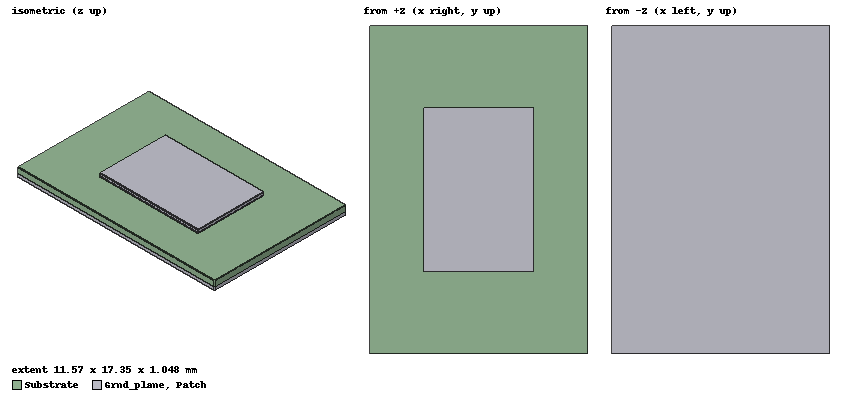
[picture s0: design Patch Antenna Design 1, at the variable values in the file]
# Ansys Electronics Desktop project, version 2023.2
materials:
  vacuum: permittivity=1
  Material1
  Rogers RT/duroid 5880 (tm): permittivity=2.2 dielectric_loss_tangent=0.0009
  pec: conductivity=1e+30
  Teflon (tm): permittivity=2.1 dielectric_loss_tangent=0.001

design Patch Antenna Design 1 (HFSS, HFSS Modal Network, model units mm)
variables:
  h = 0.508mm
  Le = 6.316241mm
  del_L = 266.272104um
  L = Le - 2*del_L
  W = 1.5*L
  Ls = 2*L
  Ws = 2*W
  t = (18*15) um
  SCALE = 0.825
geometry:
  Substrate [Rogers RT/duroid 5880 (tm)] = box(corner=(-(1/2)*Ls, -(1/2)*Ws, 0mm), size=(Ls, Ws, h))
  Patch [pec] = box(corner=(-(1/2)*L, -(1/2)*W, h), size=(L, W, t))
  Grnd_plane [pec] = box(corner=(-(1/2)*Ls, -(1/2)*Ws, 0mm), size=(Ls, Ws, -t))
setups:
  Setup1: HfssDriven Frequency=16GHz MaxDeltaE=0.002 MaximumPasses=15 MinimumPasses=1 MinimumConvergedPasses=1 PercentRefinement=30 BasisOrder=2 DrivenSolverType="Iterative Solver" IterativeResidual=1e-06 DDMSolverResidual=0.0001
    sweep Sweep: 15GHz to 17GHz step 5MHz; Type=Discrete SaveFields

design Patch Antenna Design 2 (HFSS, HFSS Modal Network, model units mm)
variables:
  h = 0.508mm
  Le = 6.316241mm
  del_L = 266.272104um
  L = Le - 2*del_L
  W = 1.5*L
  Ls = 2*L
  Ws = 2*W
  t = 80um
  SCALE = 0.825
  Xf = 2.07*SCALE mm
  X0 = (1/2)*Le-Xf
  r_i = 10mil
  r_o = 33mil
  r_o2 = r_o+10*t
  Lc = 10mm
  d_cap = 10*t
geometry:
  Substrate [Rogers RT/duroid 5880 (tm)] = box(corner=(-(1/2)*Ls, -(1/2)*Ws, 0mm), size=(Ls, Ws, h))
  Patch [pec] = box(corner=(-(1/2)*L, -(1/2)*W, h), size=(L, W, t))
  Grnd_plane [pec] = box(corner=(-(1/2)*Ls, -(1/2)*Ws, 0mm), size=(Ls, Ws, -t))
  Coax_inner [pec] = cylinder(axis=Z, base_centre=(X0, 0mm, -t), radius=r_i, height=-Lc)
  Coax_outer [Teflon (tm)] = cylinder(axis=Z, base_centre=(X0, 0mm, -t), radius=r_o, height=-Lc)
  Coax_outer2 [pec] = cylinder(axis=Z, base_centre=(X0, 0mm, -t), radius=r_o2, height=-(Lc+d_cap))
  Probe [pec] = cylinder(axis=Z, base_centre=(X0, 0mm, 0), radius=r_i, height=h)
  Probe1 [pec] = cylinder(axis=Z, base_centre=(X0, 0mm, 0), radius=r_i, height=-t)
  Slot [vacuum] = cylinder(axis=Z, base_centre=(X0, 0mm, 0), radius=r_o, height=-t)
  RadiatingSurface [vacuum] = region(absolute_offset=6.25mm on all sides)
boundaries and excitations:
  Open1: Radiation Objects=RadiatingSurface
  1: Wave Port Faces=Coax_outer.face(-z end) WavePortType=Modal NumModes=1 DeembedDist=Lc Modes{Mode1{CharImp=Zpi}}
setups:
  Setup1: HfssDriven Frequency=16GHz MaxDeltaS=0.02 MaximumPasses=15 MinimumPasses=1 MinimumConvergedPasses=1 PercentRefinement=30 BasisOrder=2 PortAccuracy=2 DrivenSolverType="Iterative Solver" IterativeResidual=1e-06 DDMSolverResidual=0.0001
    sweep Sweep: 15GHz to 17GHz step 5MHz; Type=Discrete SaveFields
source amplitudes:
  1:1: 1W 0deg
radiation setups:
  3D: Infinite Sphere Theta=0deg..180deg step 2deg Phi=-180deg..180deg step 2deg
  Elevation: Infinite Sphere Theta=-180deg..180deg step 1deg Phi=0deg..90deg step 90deg
  Azimuth: Infinite Sphere Theta=90deg..90deg step 0deg Phi=-180deg..180deg step 1deg

design Patch Antenna Design 4 (HFSS, HFSS Modal Network, model units mm)
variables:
  h = 0.508mm
  Le = 6.316241mm
  del_L = 266.272104um
  L = Le - 2*del_L
  W = 1.5*L
  Ls = 2*L
  Ws = 2*W
  t = 80um
  SCALE = 0.825
  Xf = 2.07*SCALE mm
  X0 = (1/2)*Le-Xf
  r_i = 10mil
  r_o = 33mil
  r_o2 = r_o+10*t
  Lc = 10mm
  d_cap = 10*t
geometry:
  Substrate [Rogers RT/duroid 5880 (tm)] = box(corner=(-(1/2)*Ls, -(1/2)*Ws, 0mm), size=(Ls, Ws, h))
  Patch [pec] = box(corner=(-(1/2)*L, -(1/2)*W, h), size=(L, W, t))
  Grnd_plane [pec] = box(corner=(-(1/2)*Ls, -(1/2)*Ws, 0mm), size=(Ls, Ws, -t))
  Coax_inner [pec] = cylinder(axis=Z, base_centre=(X0, 0mm, -t), radius=r_i, height=-Lc)
  Coax_outer [Teflon (tm)] = cylinder(axis=Z, base_centre=(X0, 0mm, -t), radius=r_o, height=-Lc)
  Coax_outer2 [pec] = cylinder(axis=Z, base_centre=(X0, 0mm, -t), radius=r_o2, height=-(Lc+d_cap))
  Probe [pec] = cylinder(axis=Z, base_centre=(X0, 0mm, 0), radius=r_i, height=h)
  Probe1 [pec] = cylinder(axis=Z, base_centre=(X0, 0mm, 0), radius=r_i, height=-t)
  Slot [vacuum] = cylinder(axis=Z, base_centre=(X0, 0mm, 0), radius=r_o, height=-t)
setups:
  Setup1: HfssDriven Frequency=16GHz MaxDeltaE=0.002 MaximumPasses=15 MinimumPasses=1 MinimumConvergedPasses=1 PercentRefinement=30 BasisOrder=2 DrivenSolverType="Iterative Solver" IterativeResidual=1e-06 DDMSolverResidual=0.0001
    sweep Sweep: 15GHz to 17GHz step 5MHz; Type=Discrete SaveFields

design Design Project 2 V1 (HFSS, HFSS Modal Network, model units mm)
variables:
  h = 0.508mm
  Le = 6.316241mm
  del_L = 266.272104um
  L = Le - 2*del_L
  W = 1.5*L
  Ls = 2*L
  Ws = 2*W
  t = 80um
  SCALE = 0.825
  Xf = 2.07*SCALE mm
  X0 = (1/2)*Le-Xf
  r_i = 10mil
  r_o = 33mil
  r_o2 = r_o+10*t
  Lc = 10mm
  d_cap = 10*t
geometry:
  Substrate [Rogers RT/duroid 5880 (tm)] = box(corner=(-(1/2)*Ls, -(1/2)*Ws, 0mm), size=(Ls, Ws, h))
  Patch [pec] = box(corner=(-(1/2)*L, -(1/2)*W, h), size=(L, W, t))
  Grnd_plane [pec] = box(corner=(-(1/2)*Ls, -(1/2)*Ws, 0mm), size=(Ls, Ws, -t))
  Coax_inner [pec] = cylinder(axis=Z, base_centre=(X0, 0mm, -t), radius=r_i, height=-Lc)
  Coax_outer [Teflon (tm)] = cylinder(axis=Z, base_centre=(X0, 0mm, -t), radius=r_o, height=-Lc)
  Coax_outer2 [pec] = cylinder(axis=Z, base_centre=(X0, 0mm, -t), radius=r_o2, height=-(Lc+d_cap))
  Probe [pec] = cylinder(axis=Z, base_centre=(X0, 0mm, 0), radius=r_i, height=h)
  Probe1 [pec] = cylinder(axis=Z, base_centre=(X0, 0mm, 0), radius=r_i, height=-t)
  Slot [vacuum] = cylinder(axis=Z, base_centre=(X0, 0mm, 0), radius=r_o, height=-t)
  RadiatingSurface [vacuum] = region(absolute_offset: +X=6.25mm, -X=6.25mm, +Y=6.25mm, -Y=0mm, +Z=6.25mm, -Z=6.25mm)
  [Substrate, Patch, Grnd_plane, Coax_inner, Coax_outer, Coax_outer2, Probe, Probe1, Slot].split(plane=ZX, keep=PositiveOnly)
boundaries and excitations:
  Open1: Radiation Objects=RadiatingSurface
  Sym1: Symmetry Faces=RadiatingSurface.face(-y) IsPerfectE=false
  1: Wave Port Faces=Coax_outer.face(-z end) WavePortType=Modal NumModes=1 DeembedDist=Lc Modes{Mode1{CharImp=Zpi}}
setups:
  Setup1: HfssDriven Frequency=16GHz MaxDeltaS=0.02 MaximumPasses=15 MinimumPasses=1 MinimumConvergedPasses=1 PercentRefinement=30 BasisOrder=2 PortAccuracy=2 DrivenSolverType="Iterative Solver" IterativeResidual=1e-06 DDMSolverResidual=0.0001
    sweep Sweep: 15GHz to 17GHz step 5MHz; Type=Discrete SaveFields
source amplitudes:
  1:1: 1W 0deg
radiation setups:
  3D: Infinite Sphere Theta=0deg..180deg step 2deg Phi=-180deg..180deg step 2deg
  Elevation: Infinite Sphere Theta=-180deg..180deg step 1deg Phi=0deg..90deg step 90deg
  Azimuth: Infinite Sphere Theta=90deg..90deg step 0deg Phi=-180deg..180deg step 1deg
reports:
  S Parameter Plot 3: dB(S(1,1)) vs Freq on Setup1 : Sweep; markers m1 at 15.865GHz
  S Parameter Chart 1: S(1,1) on Setup1 : Sweep [Freq=all]; markers m1 at 16GHz
  S Parameter Plot 4: dB(S(1,1)) vs Freq on Setup1 : Sweep
  Gain Plot 1: dB(GainTotal) vs Theta on Setup1 : LastAdaptive, Elevation [Phi=all Freq=16GHz]

design Design Project  2 V2 (HFSS, HFSS Modal Network, model units mm)
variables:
  h = 0.508mm
  Le = 6.262947717mm
  del_L = 266.272104um
  L = Le - 2*del_L
  W = 1.5*L
  Ls = 2*L
  Ws = 2*W
  t = 80um
  SCALE = 0.825
  Xf = 2.07*SCALE mm
  X0 = (1/2)*Le-Xf
  r_i = 10mil
  r_o = 33mil
  r_o2 = r_o+10*t
  Lc = 10mm
  d_cap = 10*t
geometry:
  Substrate [Rogers RT/duroid 5880 (tm)] = box(corner=(-(1/2)*Ls, -(1/2)*Ws, 0mm), size=(Ls, Ws, h))
  Patch [pec] = box(corner=(-(1/2)*L, -(1/2)*W, h), size=(L, W, t))
  Grnd_plane [pec] = box(corner=(-(1/2)*Ls, -(1/2)*Ws, 0mm), size=(Ls, Ws, -t))
  Coax_inner [pec] = cylinder(axis=Z, base_centre=(X0, 0mm, -t), radius=r_i, height=-Lc)
  Coax_outer [Teflon (tm)] = cylinder(axis=Z, base_centre=(X0, 0mm, -t), radius=r_o, height=-Lc)
  Coax_outer2 [pec] = cylinder(axis=Z, base_centre=(X0, 0mm, -t), radius=r_o2, height=-(Lc+d_cap))
  Probe [pec] = cylinder(axis=Z, base_centre=(X0, 0mm, 0), radius=r_i, height=h)
  Probe1 [pec] = cylinder(axis=Z, base_centre=(X0, 0mm, 0), radius=r_i, height=-t)
  Slot [vacuum] = cylinder(axis=Z, base_centre=(X0, 0mm, 0), radius=r_o, height=-t)
  RadiatingSurface [vacuum] = region(absolute_offset: +X=6.25mm, -X=6.25mm, +Y=6.25mm, -Y=0mm, +Z=6.25mm, -Z=6.25mm)
  [Substrate, Patch, Grnd_plane, Coax_inner, Coax_outer, Coax_outer2, Probe, Probe1, Slot].split(plane=ZX, keep=PositiveOnly)
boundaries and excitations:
  Open1: Radiation Objects=RadiatingSurface
  Sym1: Symmetry Faces=RadiatingSurface.face(-y) IsPerfectE=false
  1: Wave Port Faces=Coax_outer.face(-z end) WavePortType=Modal NumModes=1 DeembedDist=Lc Modes{Mode1{CharImp=Zpi}}
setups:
  Setup1: HfssDriven Frequency=16GHz MaxDeltaS=0.02 MaximumPasses=15 MinimumPasses=1 MinimumConvergedPasses=1 PercentRefinement=30 BasisOrder=2 PortAccuracy=2 DrivenSolverType="Iterative Solver" IterativeResidual=1e-06 DDMSolverResidual=0.0001
    sweep Sweep: 15GHz to 17GHz step 5MHz; Type=Discrete SaveFields
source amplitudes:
  1:1: 1W 0deg
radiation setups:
  3D: Infinite Sphere Theta=0deg..180deg step 2deg Phi=-180deg..180deg step 2deg
  Elevation: Infinite Sphere Theta=-180deg..180deg step 1deg Phi=0deg..90deg step 90deg
  Azimuth: Infinite Sphere Theta=90deg..90deg step 0deg Phi=-180deg..180deg step 1deg
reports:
  S Parameter Plot 5: dB(S(1,1)) vs Freq on Setup1 : Sweep; markers f0 at 15.995GHz, fL at 15.7GHz, fH at 16.3GHz
  S Parameter Chart 1: S(1,1) on Setup1 : Sweep [Freq=all]; markers m1 at 15.995GHz
  Gain Plot 1: dB(GainTotal) vs Theta on Setup1 : LastAdaptive, Elevation [Phi=all Freq=16GHz]
